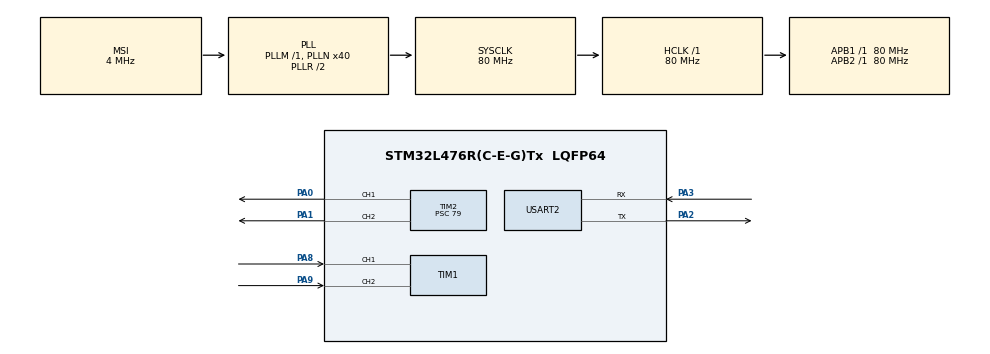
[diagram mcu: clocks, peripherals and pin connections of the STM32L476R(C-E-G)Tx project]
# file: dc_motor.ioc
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Mcu.Family=STM32L4
Mcu.Name=STM32L476R(C-E-G)Tx
Mcu.Package=LQFP64
NVIC.PriorityGroup=NVIC_PRIORITYGROUP_4
NVIC.USART2_IRQn=true\:15\:0\:true\:false\:true\:true\:true\:true
PA0.Signal=S_TIM2_CH1
PA1.Signal=S_TIM2_CH2
PA13\ (JTMS-SWDIO).Mode=Serial_Wire
PA13\ (JTMS-SWDIO).Signal=SYS_JTMS-SWDIO
PA14\ (JTCK-SWCLK).Mode=Serial_Wire
PA14\ (JTCK-SWCLK).Signal=SYS_JTCK-SWCLK
PA2.Mode=Asynchronous
PA2.Signal=USART2_TX
PA3.Mode=Asynchronous
PA3.Signal=USART2_RX
PA8.Signal=S_TIM1_CH1
PA9.Signal=S_TIM1_CH2
ProjectManager.HeapSize=0x200
ProjectManager.StackSize=0x400
ProjectManager.TargetToolchain=STM32CubeIDE
RCC.AHBFreq_Value=80000000
RCC.APB1Freq_Value=80000000
RCC.APB1TimFreq_Value=80000000
RCC.APB2Freq_Value=80000000
RCC.APB2TimFreq_Value=80000000
RCC.CortexFreq_Value=80000000
RCC.HCLKFreq_Value=80000000
RCC.HSE_VALUE=8000000
RCC.HSI_VALUE=16000000
RCC.LSE_VALUE=32768
RCC.MSI_VALUE=4000000
RCC.PLLN=40
RCC.SYSCLKFreq_VALUE=80000000
RCC.SYSCLKSource=RCC_SYSCLKSOURCE_PLLCLK
RCC.VCOOutputFreq_Value=160000000
SH.S_TIM1_CH1.0=TIM1_CH1,Encoder_Interface
SH.S_TIM1_CH2.0=TIM1_CH2,Encoder_Interface
SH.S_TIM2_CH1.0=TIM2_CH1,PWM Generation1 CH1
SH.S_TIM2_CH2.0=TIM2_CH2,PWM Generation2 CH2
TIM2.Channel-PWM\ Generation1\ CH1=TIM_CHANNEL_1
TIM2.Channel-PWM\ Generation2\ CH2=TIM_CHANNEL_2
TIM2.Period=999
TIM2.Prescaler=79
USART2.OverrunDisableParam=ADVFEATURE_OVERRUN_DISABLE
USART2.VirtualMode-Asynchronous=VM_ASYNC
VP_TIM2_VS_ClockSourceINT.Mode=Internal
board=custom

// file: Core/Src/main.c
/* USER CODE BEGIN Header */
/**
  ******************************************************************************
  * @file           : main.c
  * @brief          : Main program body
  ******************************************************************************
  * @attention
  *
  * Copyright (c) 2026 STMicroelectronics.
  * All rights reserved.
  *
  * This software is licensed under terms that can be found in the LICENSE file
  * in the root directory of this software component.
  * If no LICENSE file comes with this software, it is provided AS-IS.
  *
  ******************************************************************************
  */
/* USER CODE END Header */
#include "main.h"
#include "tim.h"
#include "usart.h"
#include "gpio.h"

/* USER CODE BEGIN Includes */
#include "dc_motor.h"
#include "my_uart.h"
#include "stdio.h"
/* USER CODE END Includes */

/* USER CODE BEGIN PV */
motor_t motor1 = {
  .pwm_tim = &htim2,
  .pwm_channel_A = TIM_CHANNEL_1,
  .pwm_channel_B = TIM_CHANNEL_2,
  .encoder_tim = &htim1,
  .encoder_curr_count = 0,
  .encoder_prev_count = 0,
  .encoder_resolution = 700,
  .measured_rpm = 0,
  .max_rpm = 251.0f,
  .regulator_Kp = 1.0f,
  .regulator_Ki = 0.2f,
  .integral = 0
};

uint32_t Ts_ms = 100;
uint32_t curr_time = 0;
uint32_t prev_time = 0;
uint32_t cnt = 0;
uint8_t curr_rpm = 30;
/* USER CODE END PV */

void SystemClock_Config(void);

/* USER CODE BEGIN 0 */
void test1(void){
  motor_measure_rpm(&motor1, (float)Ts_ms / 1000.0f);
  if(cnt > 200){
    printf("rpm = %f\n", motor1.measured_rpm);
    cnt = 0;
  }
  cnt++;
}

void test2(uint8_t duty){
  motor_set_raw_pwm(&motor1, 0, motor1.pwm_channel_B);
  motor_set_raw_pwm(&motor1, duty, motor1.pwm_channel_A);
  motor_measure_rpm(&motor1, (float)Ts_ms / 1000.0f);
  printf("rpm = %f\n", motor1.measured_rpm);
}

void test3(float rpm){
  motor_set_rpm(&motor1, rpm, (float)Ts_ms / 1000.0f);
  printf("rpm = %.2f\n", motor1.measured_rpm);
}
/* USER CODE END 0 */

int main(void)
{

  /* MCU Configuration--------------------------------------------------------*/

  /* Reset of all peripherals, Initializes the Flash interface and the Systick. */
  HAL_Init();

  /* Configure the system clock */
  SystemClock_Config();

  /* Initialize all configured peripherals */
  MX_GPIO_Init();
  MX_TIM1_Init();
  MX_USART2_UART_Init();
  MX_TIM2_Init();
  /* USER CODE BEGIN 2 */
  my_uart_start_receiving();
  motor_init(&motor1);
  /* USER CODE END 2 */

  /* Infinite loop */
  /* USER CODE BEGIN WHILE */
  while (1)
  {
  curr_time = HAL_GetTick();
  if(curr_time - prev_time > Ts_ms){
    prev_time = curr_time;
    test3(-50);
    //test2();
    //test3();
  }
    /* USER CODE END WHILE */

  }
}

void SystemClock_Config(void)
{
  RCC_OscInitTypeDef RCC_OscInitStruct = {0};
  RCC_ClkInitTypeDef RCC_ClkInitStruct = {0};

  /** Configure the main internal regulator output voltage
  */
  if (HAL_PWREx_ControlVoltageScaling(PWR_REGULATOR_VOLTAGE_SCALE1) != HAL_OK)
  {
    Error_Handler();
  }

  /** Initializes the RCC Oscillators according to the specified parameters
  * in the RCC_OscInitTypeDef structure.
  */
  RCC_OscInitStruct.OscillatorType = RCC_OSCILLATORTYPE_MSI;
  RCC_OscInitStruct.MSIState = RCC_MSI_ON;
  RCC_OscInitStruct.MSICalibrationValue = 0;
  RCC_OscInitStruct.MSIClockRange = RCC_MSIRANGE_6;
  RCC_OscInitStruct.PLL.PLLState = RCC_PLL_ON;
  RCC_OscInitStruct.PLL.PLLSource = RCC_PLLSOURCE_MSI;
  RCC_OscInitStruct.PLL.PLLM = 1;
  RCC_OscInitStruct.PLL.PLLN = 40;
  RCC_OscInitStruct.PLL.PLLP = RCC_PLLP_DIV7;
  RCC_OscInitStruct.PLL.PLLQ = RCC_PLLQ_DIV2;
  RCC_OscInitStruct.PLL.PLLR = RCC_PLLR_DIV2;
  if (HAL_RCC_OscConfig(&RCC_OscInitStruct) != HAL_OK)
  {
    Error_Handler();
  }

  /** Initializes the CPU, AHB and APB buses clocks
  */
  RCC_ClkInitStruct.ClockType = RCC_CLOCKTYPE_HCLK|RCC_CLOCKTYPE_SYSCLK
                              |RCC_CLOCKTYPE_PCLK1|RCC_CLOCKTYPE_PCLK2;
  RCC_ClkInitStruct.SYSCLKSource = RCC_SYSCLKSOURCE_PLLCLK;
  RCC_ClkInitStruct.AHBCLKDivider = RCC_SYSCLK_DIV1;
  RCC_ClkInitStruct.APB1CLKDivider = RCC_HCLK_DIV1;
  RCC_ClkInitStruct.APB2CLKDivider = RCC_HCLK_DIV1;

  if (HAL_RCC_ClockConfig(&RCC_ClkInitStruct, FLASH_LATENCY_4) != HAL_OK)
  {
    Error_Handler();
  }
}

void Error_Handler(void)
{
  __disable_irq();
  while (1)
  {
  }
}
